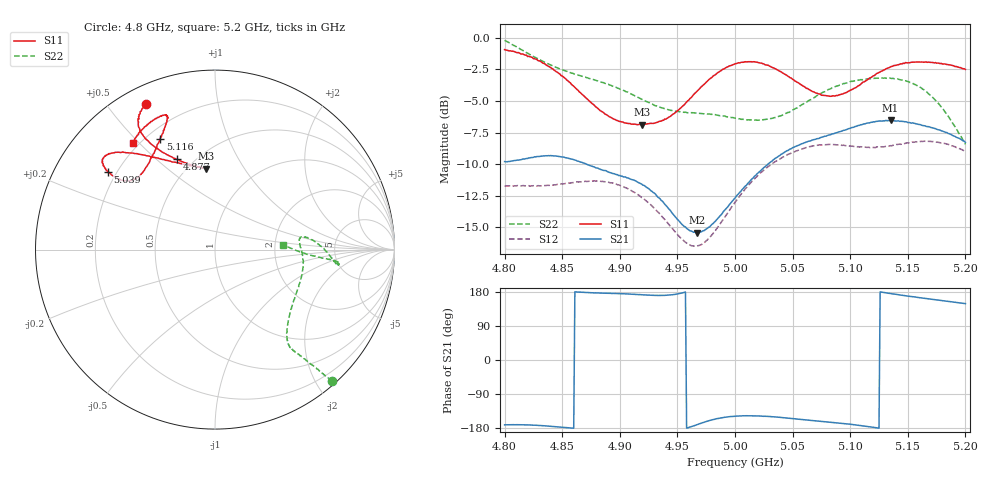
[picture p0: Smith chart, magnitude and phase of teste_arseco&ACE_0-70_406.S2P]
! Network Analyzer HP8722D
! Hewlett-Packard
! Data name: Linha & Wilkinson
! Saver's name: Rodrigo Anjos
! Comments: Teste da utilização de aquisição
! continua pelo VNA HP8722D
! Time and date: 8/5/2025 16:08
!  Frequency  S11  S21  S12  S22
# HZ  S  MA R 50
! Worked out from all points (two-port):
!   401 points, 4.8 GHz to 5.2 GHz, reference 50 ohm
!   highest |S21| = -6.53 dB at 5.135 GHz (marker M1); lowest = -15.4 dB at 4.967 GHz (marker M2)
!   |S21| within 3 dB of the highest: 4.821 GHz to 4.855 GHz (34 MHz wide, 0.703 % of centre); 5.035 GHz to end of sweep
!   lowest |S11| = -6.9 dB at 4.919 GHz (marker M3), VSWR 2.66, Z = 30.5 + j34.7 ohm
!   |S11| at or under -10 dB: nowhere
!   |S22| runs from -8.4 to -0.2 dB; largest |S21 - S12| = 0.83
!   S11 on the Smith chart (normalised r, x): 4.8 GHz: 0.07, +0.63; 4.877 GHz: 0.41, +0.58; 5.039 GHz: 0.17, +0.32; 5.116 GHz: 0.25, +0.59; 5.2 GHz: 0.18, +0.48
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4.8e9  0.8989 115.5  0.3235 -171.1  0.2588 -86.4  0.9771 -48.3
4.833e9  0.7954 121.9  0.34 -173.4  0.2593 -77.7  0.8077 -50.4
4.849e9  0.7093 121.6  0.338 -177.4  0.2637 -72.5  0.7496 -51.3
4.867e9  0.5986 117.2  0.3214 178.7  0.2692 -68.4  0.7057 -52.2
4.877e9  0.545 112.8  0.3088 177.3  0.2709 -67.4  0.6836 -52.5
4.902e9  0.4645 99.5  0.2832 175.1  0.2586 -68.2  0.6224 -49.9
4.919e9  0.4533 96.0  0.2633 172.4  0.233 -70.2  0.5713 -44.5
4.934e9  0.4663 100.2  0.2322 170.4  0.2026 -70.4  0.5331 -36.4
4.955e9  0.5389 115.3  0.1806 177.6  0.1578 -60.8  0.5079 -22.7
4.967e9  0.6146 123.3  0.1692 -170.6  0.1498 -47.7  0.5031 -15.5
4.979e9  0.693 129.5  0.1804 -158.7  0.1638 -34.3  0.498 -9.3
5e9  0.7894 137.1  0.2319 -148.5  0.2233 -21.9  0.4807 -0.3
5.018e9  0.8017 141.4  0.2854 -147.5  0.2797 -19.5  0.4732 5.6
5.039e9  0.737 143.9  0.3423 -151.3  0.3313 -19.9  0.4904 8.3
5.067e9  0.614 141.5  0.3938 -159.7  0.3728 -22.3  0.5736 3.2
5.088e9  0.5913 132.5  0.4211 -165.7  0.3768 -25.5  0.644 -3.4
5.116e9  0.6887 116.3  0.4604 -176.0  0.3687 -28.4  0.688 -6.9
5.134e9  0.7632 110.5  0.4694 175.9  0.373 -30.4  0.6932 -6.3
5.135e9  0.7679 110.5  0.4718 175.3  0.3741 -30.4  0.6922 -6.3
5.15e9  0.7965 110.1  0.4621 168.6  0.3835 -33.7  0.6717 -5.4
5.164e9  0.8009 113.1  0.4488 163.0  0.3896 -37.9  0.6237 -4.7
5.2e9  0.7504 127.6  0.3856 148.7  0.3552 -48.5  0.3787 4.2
